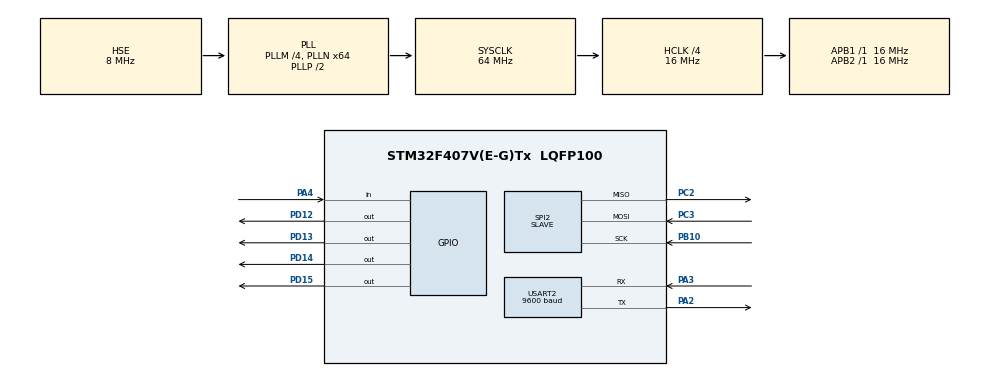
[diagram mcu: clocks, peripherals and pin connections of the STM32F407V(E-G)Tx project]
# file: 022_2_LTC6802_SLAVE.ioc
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Mcu.Family=STM32F4
Mcu.Name=STM32F407V(E-G)Tx
Mcu.Package=LQFP100
NVIC.PriorityGroup=NVIC_PRIORITYGROUP_4
NVIC.SPI2_IRQn=true\:0\:0\:false\:false\:true\:true\:true
NVIC.USART2_IRQn=true\:0\:0\:false\:false\:true\:true\:true
PA2.Mode=Asynchronous
PA2.Signal=USART2_TX
PA3.Mode=Asynchronous
PA3.Signal=USART2_RX
PA4.Signal=GPIO_Input
PB10.Mode=Full_Duplex_Slave
PB10.Signal=SPI2_SCK
PC2.Mode=Full_Duplex_Slave
PC2.Signal=SPI2_MISO
PC3.Mode=Full_Duplex_Slave
PC3.Signal=SPI2_MOSI
PD12.Signal=GPIO_Output
PD13.Signal=GPIO_Output
PD14.Signal=GPIO_Output
PD15.Signal=GPIO_Output
PH0-OSC_IN.Mode=HSE-External-Oscillator
PH0-OSC_IN.Signal=RCC_OSC_IN
PH1-OSC_OUT.Mode=HSE-External-Oscillator
PH1-OSC_OUT.Signal=RCC_OSC_OUT
ProjectManager.HeapSize=0x200
ProjectManager.StackSize=0x400
ProjectManager.TargetToolchain=STM32CubeIDE
RCC.48MHZClocksFreq_Value=32000000
RCC.AHBCLKDivider=RCC_SYSCLK_DIV4
RCC.AHBFreq_Value=16000000
RCC.APB1Freq_Value=16000000
RCC.APB1TimFreq_Value=16000000
RCC.APB2Freq_Value=16000000
RCC.APB2TimFreq_Value=16000000
RCC.CortexFreq_Value=16000000
RCC.HCLKFreq_Value=16000000
RCC.HSE_VALUE=8000000
RCC.HSI_VALUE=16000000
RCC.LSE_VALUE=32768
RCC.PLLM=4
RCC.PLLN=64
RCC.PLLSourceVirtual=RCC_PLLSOURCE_HSE
RCC.SYSCLKFreq_VALUE=64000000
RCC.SYSCLKSource=RCC_SYSCLKSOURCE_PLLCLK
RCC.VCOOutputFreq_Value=128000000
SPI2.CLKPolarity=SPI_POLARITY_HIGH
SPI2.Direction=SPI_DIRECTION_2LINES
SPI2.Mode=SPI_MODE_SLAVE
SPI2.VirtualType=VM_SLAVE
USART2.BaudRate=9600
USART2.VirtualMode=VM_ASYNC
board=custom

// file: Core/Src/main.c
/* USER CODE BEGIN Header */
/**
  ******************************************************************************
  * @file           : main.c
  * @brief          : Main program body
  ******************************************************************************
  * @attention
  *
  * <h2><center>&copy; Copyright (c) 2021 STMicroelectronics.
  * All rights reserved.</center></h2>
  *
  * This software component is licensed by ST under BSD 3-Clause license,
  * the "License"; You may not use this file except in compliance with the
  * License. You may obtain a copy of the License at:
  *                        opensource.org/licenses/BSD-3-Clause
  *
  ******************************************************************************
  */
/* USER CODE END Header */
#include "main.h"

/* USER CODE BEGIN Includes */
#define WRCFG 0x01 //Write Configuration Registers
#define RDCFG 0x02 // Read config
#define RDCV 0x04 // Read cells
#define STCVAD 0x10 // Start all A/D's - poll status
#define RDFLG 0x06 //Read Flags
#define RDTMP 0x08 //Read Temperatures
#define STCDC 0x60 //A/D converter and poll Status
#define STOWAD 0x20 //Start Test - poll status
#define STTMPAD 0x30// Temperature Reading - ALL
#define address 0x80

#include "string.h"
/* USER CODE END Includes */

SPI_HandleTypeDef hspi2;

UART_HandleTypeDef huart2;

/* USER CODE BEGIN PV */
#define BUFFERSIZE                       (COUNTOF(aTxBuffer) - 1)
#define COUNTOF(__BUFFER__)   (sizeof(__BUFFER__) / sizeof(*(__BUFFER__)))

uint8_t  uartTxBuffer[] = "\r\n SLAVE SPI - INTERRUPT MODDA  IKI KART HABERLESMESI \r\n ";
uint8_t  aTxBuffer[] = "SPI SLAVE'DEN CEVAP: SLAVE' DEN MESAJ ALINDI";
uint8_t  aRxBuffer[43]= {0};

uint8_t data1[2];
uint8_t data2[2];
uint8_t data3[1];
uint8_t data4[2];

/* USER CODE END PV */

void SystemClock_Config(void);
static void MX_GPIO_Init(void);
static void MX_USART2_UART_Init(void);
static void MX_SPI2_Init(void);

int main(void)
{

  /* MCU Configuration--------------------------------------------------------*/

  /* Reset of all peripherals, Initializes the Flash interface and the Systick. */
  HAL_Init();

  /* Configure the system clock */
  SystemClock_Config();

  /* Initialize all configured peripherals */
  MX_GPIO_Init();
  MX_USART2_UART_Init();
  MX_SPI2_Init();
  /* USER CODE BEGIN 2 */
  for(volatile uint8_t i=0;i<16;i++)
    {
  	  HAL_GPIO_TogglePin(GPIOD, GPIO_PIN_12);
  	  HAL_Delay(100);
    }
    HAL_GPIO_WritePin(GPIOD, GPIO_PIN_12, GPIO_PIN_RESET);

      if(HAL_UART_Transmit(&huart2, (uint8_t*)uartTxBuffer, 55, 5000)!= HAL_OK)
      {
        Error_Handler();
      }
    /* CLK sinyalinin düzgün şekilde aşağı çekilmesi için SPI gönderme / alma işlevlerini çağırmadan önce SPI bloğu etkinleştirilir.
          Aksi takdirde, SPI CLK sinyali bu kartta temiz değildir ve aktarım sırasında hatalara neden olur */

    __HAL_SPI_ENABLE(&hspi2);

//    switch(HAL_SPI_TransmitReceive(&hspi2, (uint8_t*)aTxBuffer, (uint8_t *)aRxBuffer, 43, 5000))
//    {
//      case HAL_OK:
//    	  HAL_GPIO_WritePin(GPIOD, GPIO_PIN_12, GPIO_PIN_SET);
//   	      HAL_GPIO_WritePin(GPIOD, GPIO_PIN_13, GPIO_PIN_SET);
//        break;
//
//      case HAL_TIMEOUT:
//    	  HAL_GPIO_WritePin(GPIOD, GPIO_PIN_12, GPIO_PIN_SET);
//   	      HAL_GPIO_WritePin(GPIOD, GPIO_PIN_13, GPIO_PIN_SET);
//   	      HAL_GPIO_WritePin(GPIOD, GPIO_PIN_14, GPIO_PIN_SET);
//      case HAL_ERROR:
//    	  HAL_GPIO_WritePin(GPIOD, GPIO_PIN_12, GPIO_PIN_SET);
//   	      HAL_GPIO_WritePin(GPIOD, GPIO_PIN_13, GPIO_PIN_SET);
//   	      HAL_GPIO_WritePin(GPIOD, GPIO_PIN_14, GPIO_PIN_SET);
//        break;
//      default:
//        break;
//    }
  /* USER CODE END 2 */

  /* Infinite loop */
  /* USER CODE BEGIN WHILE */
  while (1)
  {

	  // YAZ İÇİN TRANSMİT
	  //while(HAL_SPI_GetState(&hspi2)!= HAL_SPI_STATE_READY)
	  HAL_SPI_Receive(&hspi2, data1, 2, 2000);
	  HAL_Delay(1000);
	  HAL_UART_Transmit(&huart2,data1, 2, 2000);
	/*  //OKUNANLAR İÇİN GELEN TRANSMİT
	  HAL_SPI_Receive(&hspi2, data2, 2, 2000);
	  HAL_Delay(1000);
	  HAL_UART_Transmit(&huart2, data2, 2, 2000);
	  // VOLTAJ DEGERLERİ KOMUT GİTTİ
	  HAL_SPI_Receive(&hspi2, data3, 1, 2000);
	  HAL_Delay(1000);
	  HAL_UART_Transmit(&huart2, data3, 1, 2000);
	  // VOLTAJ DEGERLERİ GELİYOR
	  HAL_SPI_Receive(&hspi2, data4, 2, 2000);
	  HAL_Delay(1000);
	  HAL_UART_Transmit(&huart2, data4, 2, 2000);*/

	  	  /*while(HAL_SPI_GetState(&hspi2)!= HAL_SPI_STATE_READY);
	 	  switch(HAL_SPI_Receive(&hspi2, (uint8_t*)aTxBuffer, (uint8_t *)aRxBuffer, 43, 5000))
	 	  {
	 	    case HAL_OK:
	 	    	  HAL_GPIO_WritePin(GPIOD, GPIO_PIN_12, GPIO_PIN_SET);
	 	   	      HAL_GPIO_WritePin(GPIOD, GPIO_PIN_13, GPIO_PIN_SET);
	 	   	      HAL_GPIO_WritePin(GPIOD, GPIO_PIN_14, GPIO_PIN_SET);
	 	   	      HAL_GPIO_WritePin(GPIOD, GPIO_PIN_15, GPIO_PIN_SET);

	 	      break;

	 	    case HAL_TIMEOUT:
	 	    	  HAL_GPIO_WritePin(GPIOD, GPIO_PIN_12, GPIO_PIN_SET);
	 	   	      HAL_GPIO_WritePin(GPIOD, GPIO_PIN_13, GPIO_PIN_SET);
	 	   	      HAL_GPIO_WritePin(GPIOD, GPIO_PIN_14, GPIO_PIN_SET);
	 	    	break;
	 	    case HAL_ERROR:
	 	    	  HAL_GPIO_WritePin(GPIOD, GPIO_PIN_12, GPIO_PIN_SET);
	 	   	      HAL_GPIO_WritePin(GPIOD, GPIO_PIN_13, GPIO_PIN_SET);
	 	   	      HAL_GPIO_WritePin(GPIOD, GPIO_PIN_14, GPIO_PIN_SET);
	 	      break;
	 	    default:
	 	      break;
	 	  }
  	      while(HAL_UART_GetState(&huart2)!= HAL_UART_STATE_READY);
  	      if(HAL_UART_Transmit(&huart2, (uint8_t*)aRxBuffer, 43, 5000)!= HAL_OK)
  		  {
  		    Error_Handler();
  		  }*/

    /* USER CODE END WHILE */

  }
}

void SystemClock_Config(void)
{
  RCC_OscInitTypeDef RCC_OscInitStruct = {0};
  RCC_ClkInitTypeDef RCC_ClkInitStruct = {0};

  /** Configure the main internal regulator output voltage
  */
  __HAL_RCC_PWR_CLK_ENABLE();
  __HAL_PWR_VOLTAGESCALING_CONFIG(PWR_REGULATOR_VOLTAGE_SCALE1);
  /** Initializes the RCC Oscillators according to the specified parameters
  * in the RCC_OscInitTypeDef structure.
  */
  RCC_OscInitStruct.OscillatorType = RCC_OSCILLATORTYPE_HSE;
  RCC_OscInitStruct.HSEState = RCC_HSE_ON;
  RCC_OscInitStruct.PLL.PLLState = RCC_PLL_ON;
  RCC_OscInitStruct.PLL.PLLSource = RCC_PLLSOURCE_HSE;
  RCC_OscInitStruct.PLL.PLLM = 4;
  RCC_OscInitStruct.PLL.PLLN = 64;
  RCC_OscInitStruct.PLL.PLLP = RCC_PLLP_DIV2;
  RCC_OscInitStruct.PLL.PLLQ = 4;
  if (HAL_RCC_OscConfig(&RCC_OscInitStruct) != HAL_OK)
  {
    Error_Handler();
  }
  /** Initializes the CPU, AHB and APB buses clocks
  */
  RCC_ClkInitStruct.ClockType = RCC_CLOCKTYPE_HCLK|RCC_CLOCKTYPE_SYSCLK
                              |RCC_CLOCKTYPE_PCLK1|RCC_CLOCKTYPE_PCLK2;
  RCC_ClkInitStruct.SYSCLKSource = RCC_SYSCLKSOURCE_PLLCLK;
  RCC_ClkInitStruct.AHBCLKDivider = RCC_SYSCLK_DIV4;
  RCC_ClkInitStruct.APB1CLKDivider = RCC_HCLK_DIV1;
  RCC_ClkInitStruct.APB2CLKDivider = RCC_HCLK_DIV1;

  if (HAL_RCC_ClockConfig(&RCC_ClkInitStruct, FLASH_LATENCY_0) != HAL_OK)
  {
    Error_Handler();
  }
}

static void MX_SPI2_Init(void)
{

  /* SPI2 parameter configuration*/
  hspi2.Instance = SPI2;
  hspi2.Init.Mode = SPI_MODE_SLAVE;
  hspi2.Init.Direction = SPI_DIRECTION_2LINES;
  hspi2.Init.DataSize = SPI_DATASIZE_8BIT;
  hspi2.Init.CLKPolarity = SPI_POLARITY_HIGH;
  hspi2.Init.CLKPhase = SPI_PHASE_1EDGE;
  hspi2.Init.NSS = SPI_NSS_SOFT;
  hspi2.Init.FirstBit = SPI_FIRSTBIT_MSB;
  hspi2.Init.TIMode = SPI_TIMODE_DISABLE;
  hspi2.Init.CRCCalculation = SPI_CRCCALCULATION_DISABLE;
  hspi2.Init.CRCPolynomial = 10;
  if (HAL_SPI_Init(&hspi2) != HAL_OK)
  {
    Error_Handler();
  }

}

static void MX_USART2_UART_Init(void)
{

  huart2.Instance = USART2;
  huart2.Init.BaudRate = 9600;
  huart2.Init.WordLength = UART_WORDLENGTH_8B;
  huart2.Init.StopBits = UART_STOPBITS_1;
  huart2.Init.Parity = UART_PARITY_NONE;
  huart2.Init.Mode = UART_MODE_TX_RX;
  huart2.Init.HwFlowCtl = UART_HWCONTROL_NONE;
  huart2.Init.OverSampling = UART_OVERSAMPLING_16;
  if (HAL_UART_Init(&huart2) != HAL_OK)
  {
    Error_Handler();
  }

}

static void MX_GPIO_Init(void)
{
  GPIO_InitTypeDef GPIO_InitStruct = {0};

  /* GPIO Ports Clock Enable */
  __HAL_RCC_GPIOH_CLK_ENABLE();
  __HAL_RCC_GPIOC_CLK_ENABLE();
  __HAL_RCC_GPIOA_CLK_ENABLE();
  __HAL_RCC_GPIOB_CLK_ENABLE();
  __HAL_RCC_GPIOD_CLK_ENABLE();

  /*Configure GPIO pin Output Level */
  HAL_GPIO_WritePin(GPIOD, GPIO_PIN_12|GPIO_PIN_13|GPIO_PIN_14|GPIO_PIN_15, GPIO_PIN_RESET);

  /*Configure GPIO pin : PA4 */
  GPIO_InitStruct.Pin = GPIO_PIN_4;
  GPIO_InitStruct.Mode = GPIO_MODE_INPUT;
  GPIO_InitStruct.Pull = GPIO_NOPULL;
  HAL_GPIO_Init(GPIOA, &GPIO_InitStruct);

  /*Configure GPIO pins : PD12 PD13 PD14 PD15 */
  GPIO_InitStruct.Pin = GPIO_PIN_12|GPIO_PIN_13|GPIO_PIN_14|GPIO_PIN_15;
  GPIO_InitStruct.Mode = GPIO_MODE_OUTPUT_PP;
  GPIO_InitStruct.Pull = GPIO_NOPULL;
  GPIO_InitStruct.Speed = GPIO_SPEED_FREQ_LOW;
  HAL_GPIO_Init(GPIOD, &GPIO_InitStruct);

}

/* USER CODE BEGIN 4 */
//void HAL_SPI_TxRxCpltCallback(SPI_HandleTypeDef *hspi)
//{
//	HAL_SPI_TransmitReceive_IT(&hspi2, data4, data1, 2);
//	  HAL_UART_Transmit_IT(&huart2, data1, 2);
//

	  /*if(HAL_SPI_TransmitReceive_IT(&hspi1, (uint8_t *)aTxBuffer, (uint8_t *)aRxBuffer, 43) != HAL_OK)
	  {
		  Error_Handler();
	  }
	  HAL_GPIO_WritePin(GPIOD, GPIO_PIN_12, SET);
    HAL_GPIO_WritePin(GPIOD, GPIO_PIN_13, SET);
	  HAL_GPIO_WritePin(GPIOD, GPIO_PIN_14, SET);
    HAL_GPIO_WritePin(GPIOD, GPIO_PIN_15, SET);
	  while(HAL_UART_GetState(&huart2)!= HAL_UART_STATE_READY);
	  if(HAL_UART_Transmit(&huart2, (uint8_t*)aRxBuffer, 43, 5000)!= HAL_OK)
	    {
		  Error_Handler();
		}*/
//}
/* USER CODE END 4 */

void Error_Handler(void)
{
  __disable_irq();
  while (1)
  {
  }
}

/************************ (C) COPYRIGHT STMicroelectronics *****END OF FILE****/
